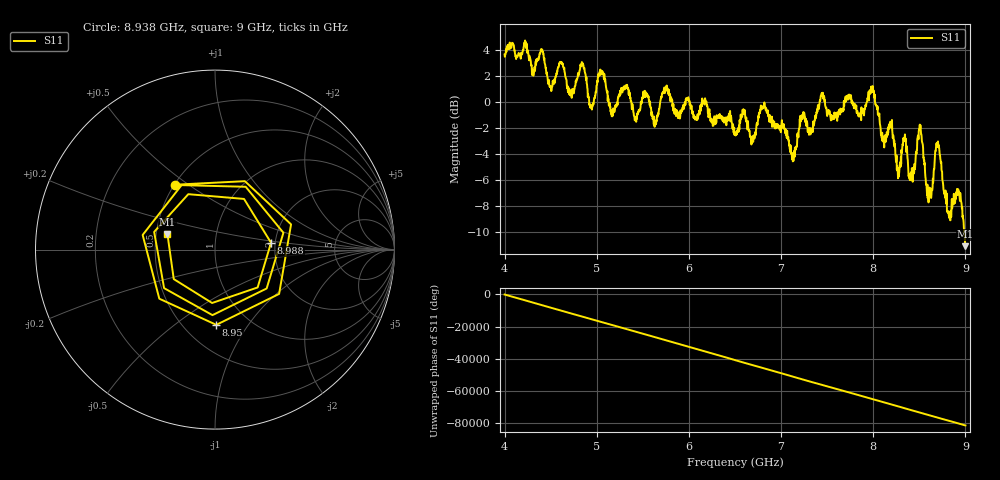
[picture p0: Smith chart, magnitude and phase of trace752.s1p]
! Created with skrf 1.8.0 (http://scikit-rf.org).
# Hz S RI R 50.0
!freq ReS11 ImS11
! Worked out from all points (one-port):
!   1601 points, 4 GHz to 9 GHz, reference 50 ohm
!   lowest |S11| = -11.1 dB at 9 GHz (marker M1), VSWR 1.77, Z = 28.7 + j5.39 ohm
!   |S11| at or under -10 dB: 8.987366 GHz to 8.989644 GHz (2.279 MHz wide, 0.0254 % of centre); 8.991208 GHz to end of sweep
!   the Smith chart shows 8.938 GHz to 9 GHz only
!   S11 on the Smith chart (normalised r, x): 8.938 GHz: 0.50, +0.44; 8.95 GHz: 0.71, -0.72; 8.988 GHz: 1.90, +0.16; 9 GHz: 0.57, +0.11
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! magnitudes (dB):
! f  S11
! 4 GHz  3.6
! 4.403 GHz  3.9
! 4.509 GHz  0.9
! 4.625 GHz  3.0
! 4.725 GHz  0.9
! 4.847 GHz  2.9
! 4.941 GHz  -0.4
! 5.047 GHz  2.2
! 5.169 GHz  -0.9
! 5.25 GHz  0.4
! 5.875 GHz  -1.0
! 6.5 GHz  -2.5
! 6.806 GHz  -0.3
! 7.125 GHz  -4.0
! 7.444 GHz  0.4
! 7.75 GHz  0.5
! 7.991 GHz  1.0
! 8.109 GHz  -3.1
! 8.375 GHz  -4.5
! 8.419 GHz  -5.1
! 8.506 GHz  -1.8
! 8.606 GHz  -7.1
! 8.697 GHz  -3.2
! 8.825 GHz  -8.9
! 8.938 GHz  -7.4
! 8.95 GHz  -7.6
! 8.988 GHz  -10.0
! 9 GHz  -11.1
